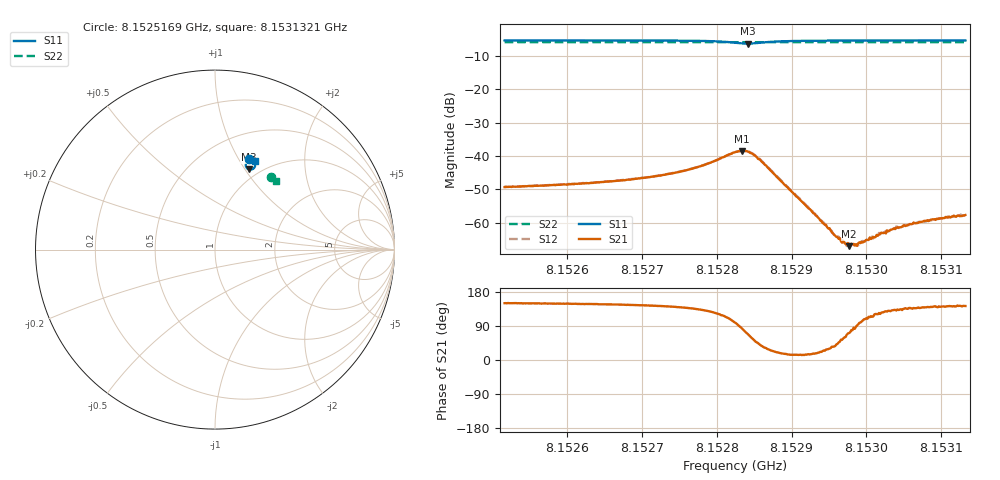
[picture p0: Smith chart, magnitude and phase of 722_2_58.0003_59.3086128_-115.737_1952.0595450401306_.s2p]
#  HZ  S  RI  R  50.00
! Rohde & Schwarz Vector Network Analyzer
! Rohde-Schwarz,ZNB20-2Port,1311601062101988,3.16
! Created: UTC 3/21/2024, 1:22:43 AM
! freq[Hz]  re:S11  im:S11  re:S21  im:S21  re:S12  im:S12  re:S22  im:S22
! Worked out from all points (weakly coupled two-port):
!   401 points, 8.1525169 GHz to 8.1531321 GHz, reference 50 ohm
!   highest |S21| = -38.45 dB at 8.1528337 GHz (marker M1); lowest = -67.0 dB at 8.1529767 GHz (marker M2)
!   lowest |S11| = -6.3 dB at 8.1528414 GHz (marker M3), VSWR 2.88, Z = 44.4 + j52 ohm
!   |S11| at or under -10 dB: nowhere
!   |S22| runs from -5.9 to -5.8 dB; largest |S21 - S12| = 0.00044
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8.15251691e9  0.1912 0.5056  -0.00297 0.00172  -0.00299 0.00179  0.312 0.4048
8.15261995e9  0.2 0.5019  -0.00328 0.00207  -0.00328 0.00213  0.317 0.4007
8.15266762e9  0.2047 0.4997  -0.00356 0.00237  -0.00354 0.00246  0.3195 0.3987
8.15272299e9  0.2114 0.4956  -0.00406 0.0031  -0.00407 0.00317  0.3223 0.3963
8.1527722e9  0.2195 0.487  -0.00473 0.00479  -0.00469 0.00484  0.3247 0.3939
8.15282449e9  0.2148 0.4518  -0.00173 0.0113  -0.00167 0.0114  0.3264 0.3907
8.15283372e9  0.201 0.4457  0.00139 0.0119  0.00135 0.012  0.3261 0.3902
8.15284141e9  0.1868 0.4477  0.00424 0.0109  0.00442 0.011  0.326 0.3903
8.1528491e9  0.1761 0.4567  0.00616 0.00854  0.00631 0.00867  0.3262 0.3904
8.15285833e9  0.1715 0.4703  0.00673 0.00556  0.00687 0.00562  0.3266 0.3907
8.15292753e9  0.196 0.4983  0.00141 0.000404  0.00146 0.000395  0.3311 0.3884
8.15295983e9  0.2025 0.4982  0.000463 0.000404  0.000501 0.000382  0.333 0.3871
8.15296906e9  0.204 0.498  0.000291 0.000449  0.000274 0.000414  0.3333 0.3868
8.15297213e9  0.2045 0.498  0.000235 0.000421  0.000235 0.000439  0.3335 0.3866
8.15297675e9  0.2051 0.498  0.000144 0.000422  0.000162 0.000448  0.3338 0.3863
8.15298598e9  0.2065 0.4978  1.61e-05 0.000477  1.5e-05 0.000457  0.3341 0.3859
8.15301673e9  0.2103 0.4969  -0.000374 0.000554  -0.000387 0.00059  0.3358 0.3846
8.15303057e9  0.2119 0.4967  -0.000485 0.000585  -0.000459 0.0006  0.3364 0.3839
8.15304288e9  0.2131 0.4961  -0.000562 0.000626  -0.000567 0.000613  0.337 0.3834
8.15306595e9  0.2152 0.4956  -0.000719 0.000678  -0.000723 0.000673  0.3381 0.3825
8.15310747e9  0.219 0.4944  -0.000947 0.000747  -0.000932 0.000782  0.34 0.3805
8.15313208e9  0.2212 0.4936  -0.00104 0.000796  -0.00103 0.000829  0.3412 0.3795
